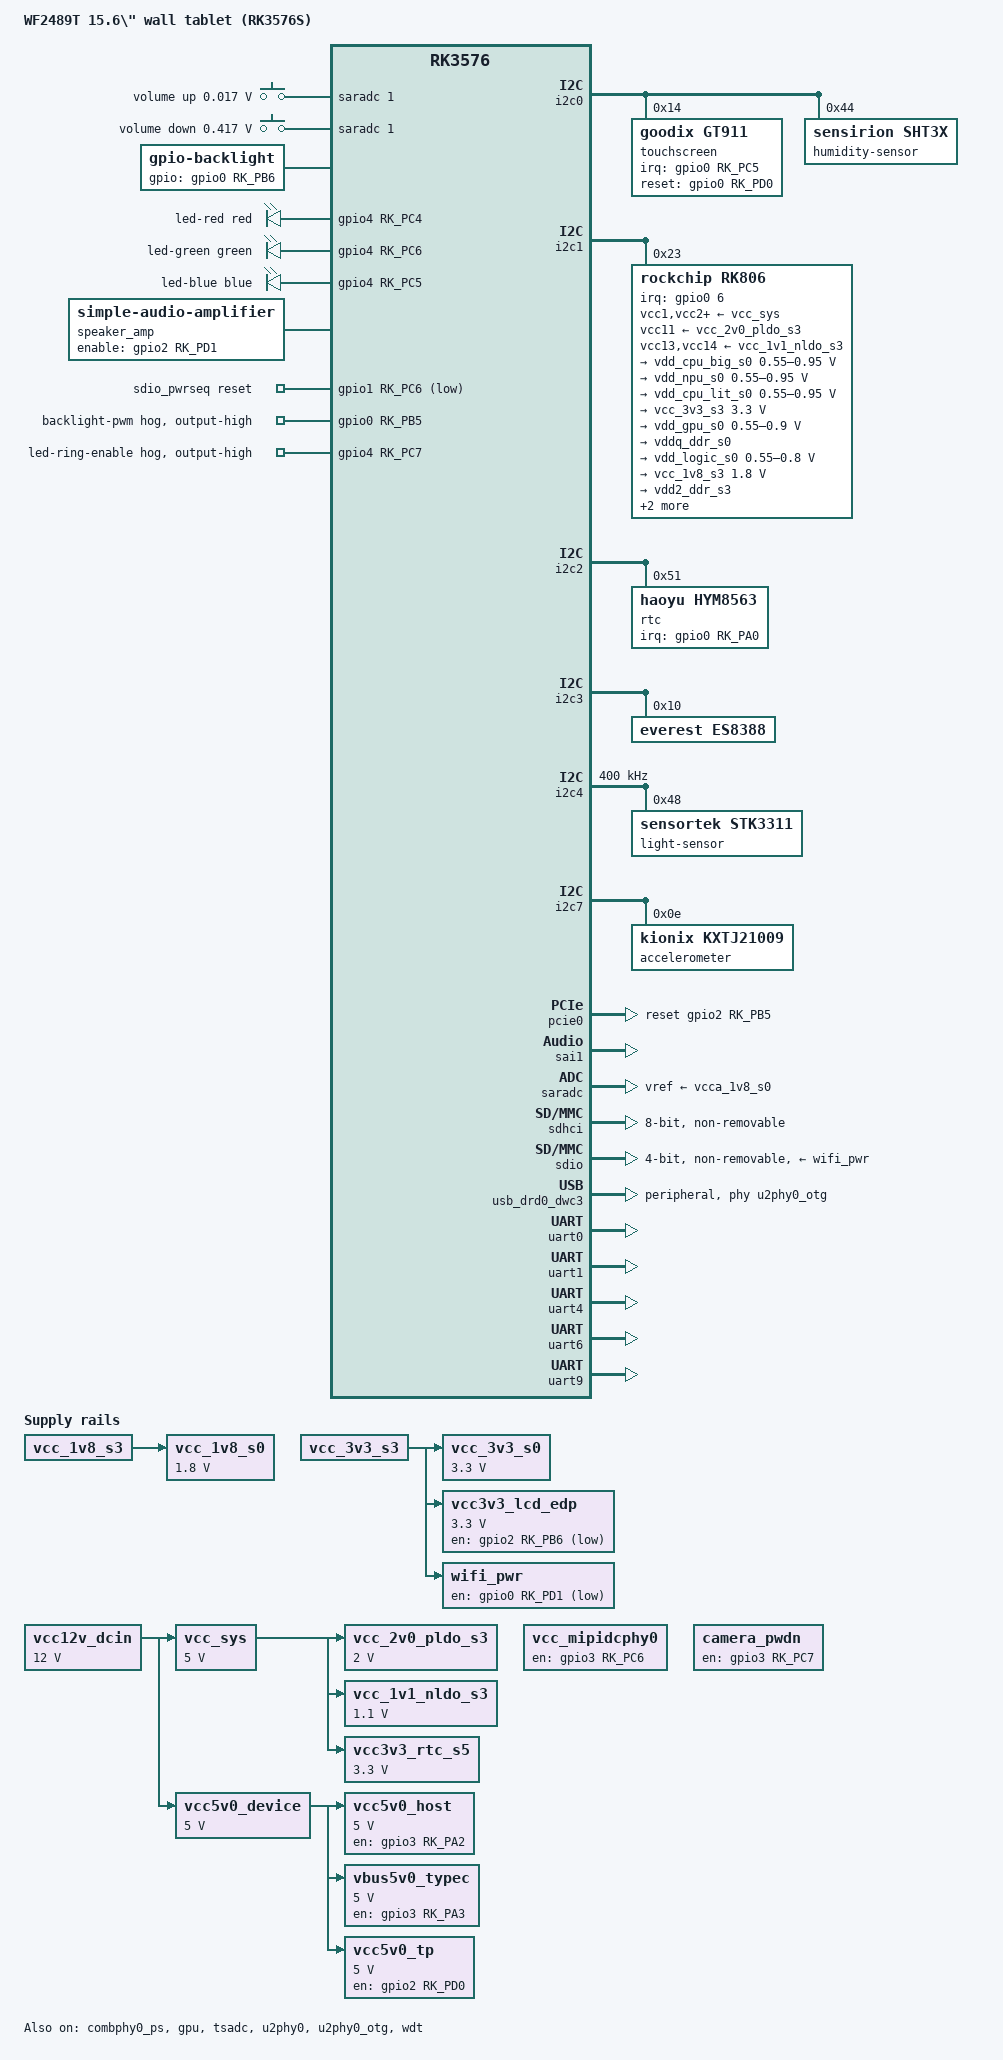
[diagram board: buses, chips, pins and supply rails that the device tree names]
// SPDX-License-Identifier: (GPL-2.0+ OR MIT)
/*
 * WF2489T 15.6" wall tablet (RK3576S, vendor board "R141 V10"): board hardware.
 * The display path (VOP2 -> eDP -> panel) is in rk3576s-wf2489t.dts, so that
 * U-Boot, whose copy of rk3576.dtsi has no eDP node yet, can use this file alone.
 *
 * The vendor board is derived from Rockchip's RK3576 EVB1: the RK806 PMIC
 * setup is taken from rk3576-evb1-v10.dts, with two rails set as on the stock
 * firmware. Pins and devices follow the stock device tree. The RK3576S has
 * the same CPU limits as the RK3576; only blocks it lacks (GMAC, PCIe1,
 * SATA, CAN) stay disabled.
 *
 * Not yet: PWM (no RK3576 PWM driver in mainline yet), so the backlight is
 * on/off via gpio-backlight and the LED ring is on/off per colour.
 */

#include <dt-bindings/gpio/gpio.h>
#include <dt-bindings/input/input.h>
#include <dt-bindings/interrupt-controller/irq.h>
#include <dt-bindings/leds/common.h>
#include <dt-bindings/pinctrl/rockchip.h>
#include <dt-bindings/soc/rockchip,vop2.h>
#include "rk3576.dtsi"

/ {
	model = "WF2489T 15.6\" wall tablet (RK3576S)";
	compatible = "oem,wf2489t", "rockchip,rk3576";

	/* serial numbering as on the stock firmware: the Zigbee radio is ttyS6 */
	aliases {
		ethernet0 = &rtl8168;
		mmc0 = &sdhci;
		mmc1 = &sdio;
		serial0 = &uart0;
		serial1 = &uart1;
		serial4 = &uart4;
		serial6 = &uart6;
		serial9 = &uart9;
	};

	chosen: chosen {
		stdout-path = "serial0:1500000n8";
	};

	adc-keys {
		compatible = "adc-keys";
		io-channels = <&saradc 1>;
		io-channel-names = "buttons";
		keyup-threshold-microvolt = <1800000>;
		poll-interval = <100>;

		button-vol-up {
			label = "volume up";
			linux,code = <KEY_VOLUMEUP>;
			press-threshold-microvolt = <17000>;
		};

		button-vol-down {
			label = "volume down";
			linux,code = <KEY_VOLUMEDOWN>;
			press-threshold-microvolt = <417000>;
		};
	};

	/* on/off only until the RK3576 PWM is supported; the PWM pin is held high below */
	backlight: backlight {
		compatible = "gpio-backlight";
		gpios = <&gpio0 RK_PB6 GPIO_ACTIVE_HIGH>;
		default-on;
		pinctrl-names = "default";
		pinctrl-0 = <&bl_en>;
	};

	/* LED ring, on/off per colour until the RK3576 PWM is supported */
	leds {
		compatible = "gpio-leds";
		pinctrl-names = "default";
		pinctrl-0 = <&led_ring_pins>;

		led-red {
			color = <LED_COLOR_ID_RED>;
			function = LED_FUNCTION_STATUS;
			gpios = <&gpio4 RK_PC4 GPIO_ACTIVE_HIGH>;
			default-state = "off";
		};

		led-green {
			color = <LED_COLOR_ID_GREEN>;
			function = LED_FUNCTION_STATUS;
			gpios = <&gpio4 RK_PC6 GPIO_ACTIVE_HIGH>;
			default-state = "off";
		};

		led-blue {
			color = <LED_COLOR_ID_BLUE>;
			function = LED_FUNCTION_STATUS;
			gpios = <&gpio4 RK_PC5 GPIO_ACTIVE_HIGH>;
			default-state = "off";
		};
	};

	/* speaker amplifier on LOUT2/ROUT2, switched by GPIO2_D1 (stock: spk-con-gpio) */
	speaker_amp: audio-amplifier {
		compatible = "simple-audio-amplifier";
		enable-gpios = <&gpio2 RK_PD1 GPIO_ACTIVE_HIGH>;
		pinctrl-names = "default";
		pinctrl-0 = <&spk_con>;
		sound-name-prefix = "Speaker Amp";
	};

	/* ES8388 on SAI1, routing as in the stock sound card */
	sound {
		compatible = "simple-audio-card";
		simple-audio-card,name = "ES8388";
		simple-audio-card,format = "i2s";
		simple-audio-card,mclk-fs = <256>;
		simple-audio-card,aux-devs = <&speaker_amp>;
		simple-audio-card,widgets =
			"Headphone", "Headphones",
			"Speaker", "Speaker",
			"Microphone", "Main Mic",
			"Microphone", "Headset Mic";
		simple-audio-card,routing =
			"Headphones", "LOUT1",
			"Headphones", "ROUT1",
			"Speaker Amp INL", "LOUT2",
			"Speaker Amp INR", "ROUT2",
			"Speaker", "Speaker Amp OUTL",
			"Speaker", "Speaker Amp OUTR",
			"LINPUT1", "Main Mic",
			"LINPUT2", "Main Mic",
			"RINPUT1", "Headset Mic",
			"RINPUT2", "Headset Mic";

		simple-audio-card,cpu {
			sound-dai = <&sai1>;
		};

		simple-audio-card,codec {
			sound-dai = <&es8388>;
		};
	};

	sdio_pwrseq: sdio-pwrseq {
		compatible = "mmc-pwrseq-simple";
		pinctrl-names = "default";
		pinctrl-0 = <&wifi_poweren_gpio>;
		post-power-on-delay-ms = <200>;
		reset-gpios = <&gpio1 RK_PC6 GPIO_ACTIVE_LOW>;
	};

	vcc12v_dcin: regulator-vcc12v-dcin {
		compatible = "regulator-fixed";
		regulator-name = "vcc12v_dcin";
		regulator-always-on;
		regulator-boot-on;
		regulator-min-microvolt = <12000000>;
		regulator-max-microvolt = <12000000>;
	};

	vcc_sys: regulator-vcc5v0-sys {
		compatible = "regulator-fixed";
		regulator-name = "vcc_sys";
		regulator-always-on;
		regulator-boot-on;
		regulator-min-microvolt = <5000000>;
		regulator-max-microvolt = <5000000>;
		vin-supply = <&vcc12v_dcin>;
	};

	vcc5v0_device: regulator-vcc5v0-device {
		compatible = "regulator-fixed";
		regulator-name = "vcc5v0_device";
		regulator-always-on;
		regulator-boot-on;
		regulator-min-microvolt = <5000000>;
		regulator-max-microvolt = <5000000>;
		vin-supply = <&vcc12v_dcin>;
	};

	vcc_2v0_pldo_s3: regulator-vcc-2v0-pldo-s3 {
		compatible = "regulator-fixed";
		regulator-name = "vcc_2v0_pldo_s3";
		regulator-always-on;
		regulator-boot-on;
		regulator-min-microvolt = <2000000>;
		regulator-max-microvolt = <2000000>;
		vin-supply = <&vcc_sys>;
	};

	vcc_1v1_nldo_s3: regulator-vcc-1v1-nldo-s3 {
		compatible = "regulator-fixed";
		regulator-name = "vcc_1v1_nldo_s3";
		regulator-always-on;
		regulator-boot-on;
		regulator-min-microvolt = <1100000>;
		regulator-max-microvolt = <1100000>;
		vin-supply = <&vcc_sys>;
	};

	vcc3v3_rtc_s5: regulator-vcc3v3-rtc-s5 {
		compatible = "regulator-fixed";
		regulator-name = "vcc3v3_rtc_s5";
		regulator-always-on;
		regulator-boot-on;
		regulator-min-microvolt = <3300000>;
		regulator-max-microvolt = <3300000>;
		vin-supply = <&vcc_sys>;
	};

	vcc_1v8_s0: regulator-vcc-1v8-s0 {
		compatible = "regulator-fixed";
		regulator-name = "vcc_1v8_s0";
		regulator-always-on;
		regulator-boot-on;
		regulator-min-microvolt = <1800000>;
		regulator-max-microvolt = <1800000>;
		vin-supply = <&vcc_1v8_s3>;
	};

	vcc_3v3_s0: regulator-vcc-3v3-s0 {
		compatible = "regulator-fixed";
		regulator-name = "vcc_3v3_s0";
		regulator-always-on;
		regulator-boot-on;
		regulator-min-microvolt = <3300000>;
		regulator-max-microvolt = <3300000>;
		vin-supply = <&vcc_3v3_s3>;
	};

	vcc3v3_lcd_edp: regulator-vcc3v3-lcd-edp {
		compatible = "regulator-fixed";
		regulator-name = "vcc3v3_lcd_edp";
		gpio = <&gpio2 RK_PB6 GPIO_ACTIVE_LOW>;
		regulator-boot-on;
		regulator-min-microvolt = <3300000>;
		regulator-max-microvolt = <3300000>;
		pinctrl-names = "default";
		pinctrl-0 = <&lcd_en_gpio>;
		vin-supply = <&vcc_3v3_s3>;
	};

	vcc5v0_host: regulator-vcc5v0-host {
		compatible = "regulator-fixed";
		regulator-name = "vcc5v0_host";
		regulator-always-on;
		regulator-boot-on;
		regulator-min-microvolt = <5000000>;
		regulator-max-microvolt = <5000000>;
		enable-active-high;
		gpio = <&gpio3 RK_PA2 GPIO_ACTIVE_HIGH>;
		vin-supply = <&vcc5v0_device>;
		pinctrl-names = "default";
		pinctrl-0 = <&usb_host_pwren>;
	};

	vbus5v0_typec: regulator-vbus5v0-typec {
		compatible = "regulator-fixed";
		regulator-name = "vbus5v0_typec";
		regulator-min-microvolt = <5000000>;
		regulator-max-microvolt = <5000000>;
		enable-active-high;
		gpio = <&gpio3 RK_PA3 GPIO_ACTIVE_HIGH>;
		vin-supply = <&vcc5v0_device>;
		pinctrl-names = "default";
		pinctrl-0 = <&usb_otg0_pwren>;
	};

	vcc5v0_tp: regulator-vcc5v0-tp {
		compatible = "regulator-fixed";
		regulator-name = "vcc5v0_tp";
		regulator-always-on;
		regulator-boot-on;
		regulator-min-microvolt = <5000000>;
		regulator-max-microvolt = <5000000>;
		enable-active-high;
		gpio = <&gpio2 RK_PD0 GPIO_ACTIVE_HIGH>;
		vin-supply = <&vcc5v0_device>;
		pinctrl-names = "default";
		pinctrl-0 = <&vcc5v0_tp_en>;
	};

	wifi_pwr: regulator-wifi-pwr {
		compatible = "regulator-fixed";
		regulator-name = "wifi_pwr";
		regulator-always-on;
		regulator-boot-on;
		gpio = <&gpio0 RK_PD1 GPIO_ACTIVE_LOW>;
		vin-supply = <&vcc_3v3_s3>;
		pinctrl-names = "default";
		pinctrl-0 = <&wifi_pwren>;
	};

	/*
	 * Camera module rail, also the supply of the ambient light sensor on
	 * i2c4 (nothing answers on that bus without it).
	 */
	vcc_mipidcphy0: regulator-vcc-mipidcphy0 {
		compatible = "regulator-fixed";
		regulator-name = "vcc_mipidcphy0";
		regulator-always-on;
		regulator-boot-on;
		enable-active-high;
		gpio = <&gpio3 RK_PC6 GPIO_ACTIVE_HIGH>;
		pinctrl-names = "default";
		pinctrl-0 = <&mipidcphy0_pwr>;
	};

	/* held as on the stock firmware, so the camera stays powered down */
	camera_pwdn: regulator-camera-pwdn {
		compatible = "regulator-fixed";
		regulator-name = "camera_pwdn";
		regulator-always-on;
		regulator-boot-on;
		enable-active-high;
		gpio = <&gpio3 RK_PC7 GPIO_ACTIVE_HIGH>;
		pinctrl-names = "default";
		pinctrl-0 = <&camera_pwdns>;
	};
};

/*
 * PCIe PHY for the Ethernet controller. Its analog rails come from the RK806;
 * without this dependency PCIe starts before the PMIC driver has set them up
 * (mainline U-Boot leaves the PMIC untouched) and the link only trains later.
 */
&combphy0_ps {
	phy-supply = <&vdda_0v85_s0>;
	status = "okay";
};

&cpu_l0 {
	cpu-supply = <&vdd_cpu_lit_s0>;
};

&cpu_b0 {
	cpu-supply = <&vdd_cpu_big_s0>;
};

/*
 * GPIOs of the vendor io_control driver, I/O 1-4 on the tablet's connector:
 * I/O 1 and 2 are plain lines (I/O 1 was a door-contact input on stock),
 * I/O 3 and 4 switch relays (tested: both click).
 */
&gpio0 {
	gpio-line-names =
		/* A0-A7 */ "", "", "", "", "", "", "", "",
		/* B0-B7 */ "", "", "", "", "io-2", "", "", "",
		/* C0-C7 */ "", "", "", "", "", "", "", "",
		/* D0-D7 */ "", "", "", "io-1", "", "", "", "";

	/* backlight PWM pin, held at 100 % until the PWM driver exists */
	backlight-pwm-hog {
		gpio-hog;
		gpios = <RK_PB5 GPIO_ACTIVE_HIGH>;
		output-high;
		line-name = "backlight-pwm";
	};
};

&gpio3 {
	gpio-line-names =
		/* A0-A7 */ "", "", "", "", "", "", "", "",
		/* B0-B7 */ "relay-1", "relay-2", "", "", "", "", "", "",
		/* C0-C7 */ "", "", "", "", "", "", "", "",
		/* D0-D7 */ "", "", "", "", "", "", "", "";
};

&gpio4 {
	/* "led_con" line of the stock LED ring driver, driven high there too */
	led-ring-enable-hog {
		gpio-hog;
		gpios = <RK_PC7 GPIO_ACTIVE_HIGH>;
		output-high;
		line-name = "led-ring-enable";
	};
};

&gpu {
	mali-supply = <&vdd_gpu_s0>;
	status = "okay";
};

/* the stock firmware stops the GPU at 900 MHz */
&gpu_opp_table {
	/delete-node/ opp-950000000;
};

/* touch and humidity sensor */
&i2c0 {
	pinctrl-names = "default";
	pinctrl-0 = <&i2c0m1_xfer>;
	status = "okay";

	touchscreen@14 {
		compatible = "goodix,gt911";
		reg = <0x14>;
		interrupt-parent = <&gpio0>;
		interrupts = <RK_PC5 IRQ_TYPE_EDGE_FALLING>;
		irq-gpios = <&gpio0 RK_PC5 GPIO_ACTIVE_HIGH>;
		reset-gpios = <&gpio0 RK_PD0 GPIO_ACTIVE_HIGH>;
		pinctrl-names = "default";
		pinctrl-0 = <&touch_gpio>;
	};

	humidity-sensor@44 {
		compatible = "sensirion,sht3x";
		reg = <0x44>;
	};
};

&i2c1 {
	status = "okay";

	rk806: pmic@23 {
		compatible = "rockchip,rk806";
		reg = <0x23>;
		interrupt-parent = <&gpio0>;
		interrupts = <6 IRQ_TYPE_LEVEL_LOW>;
		gpio-controller;
		#gpio-cells = <2>;
		pinctrl-names = "default";
		pinctrl-0 = <&pmic_pins>, <&rk806_dvs1_null>,
			    <&rk806_dvs2_null>, <&rk806_dvs3_null>;
		system-power-controller;

		vcc1-supply = <&vcc_sys>;
		vcc2-supply = <&vcc_sys>;
		vcc3-supply = <&vcc_sys>;
		vcc4-supply = <&vcc_sys>;
		vcc5-supply = <&vcc_sys>;
		vcc6-supply = <&vcc_sys>;
		vcc7-supply = <&vcc_sys>;
		vcc8-supply = <&vcc_sys>;
		vcc9-supply = <&vcc_sys>;
		vcc10-supply = <&vcc_sys>;
		vcc11-supply = <&vcc_2v0_pldo_s3>;
		vcc12-supply = <&vcc_sys>;
		vcc13-supply = <&vcc_1v1_nldo_s3>;
		vcc14-supply = <&vcc_1v1_nldo_s3>;
		vcca-supply = <&vcc_sys>;

		rk806_dvs1_null: dvs1-null-pins {
			pins = "gpio_pwrctrl1";
			function = "pin_fun0";
		};

		rk806_dvs2_null: dvs2-null-pins {
			pins = "gpio_pwrctrl2";
			function = "pin_fun0";
		};

		rk806_dvs3_null: dvs3-null-pins {
			pins = "gpio_pwrctrl3";
			function = "pin_fun0";
		};

		rk806_dvs1_slp: dvs1-slp-pins {
			pins = "gpio_pwrctrl1";
			function = "pin_fun1";
		};

		rk806_dvs1_pwrdn: dvs1-pwrdn-pins {
			pins = "gpio_pwrctrl1";
			function = "pin_fun2";
		};

		rk806_dvs1_rst: dvs1-rst-pins {
			pins = "gpio_pwrctrl1";
			function = "pin_fun3";
		};

		rk806_dvs2_slp: dvs2-slp-pins {
			pins = "gpio_pwrctrl2";
			function = "pin_fun1";
		};

		rk806_dvs2_pwrdn: dvs2-pwrdn-pins {
			pins = "gpio_pwrctrl2";
			function = "pin_fun2";
		};

		rk806_dvs2_rst: dvs2-rst-pins {
			pins = "gpio_pwrctrl2";
			function = "pin_fun3";
		};

		rk806_dvs2_dvs: dvs2-dvs-pins {
			pins = "gpio_pwrctrl2";
			function = "pin_fun4";
		};

		rk806_dvs2_gpio: dvs2-gpio-pins {
			pins = "gpio_pwrctrl2";
			function = "pin_fun5";
		};

		rk806_dvs3_slp: dvs3-slp-pins {
			pins = "gpio_pwrctrl3";
			function = "pin_fun1";
		};

		rk806_dvs3_pwrdn: dvs3-pwrdn-pins {
			pins = "gpio_pwrctrl3";
			function = "pin_fun2";
		};

		rk806_dvs3_rst: dvs3-rst-pins {
			pins = "gpio_pwrctrl3";
			function = "pin_fun3";
		};

		rk806_dvs3_dvs: dvs3-dvs-pins {
			pins = "gpio_pwrctrl3";
			function = "pin_fun4";
		};

		rk806_dvs3_gpio: dvs3-gpio-pins {
			pins = "gpio_pwrctrl3";
			function = "pin_fun5";
		};

		regulators {
			vdd_cpu_big_s0: dcdc-reg1 {
				regulator-always-on;
				regulator-boot-on;
				regulator-min-microvolt = <550000>;
				regulator-max-microvolt = <950000>;
				regulator-ramp-delay = <12500>;
				regulator-name = "vdd_cpu_big_s0";
				regulator-enable-ramp-delay = <400>;

				regulator-state-mem {
					regulator-off-in-suspend;
				};
			};

			vdd_npu_s0: dcdc-reg2 {
				regulator-boot-on;
				regulator-min-microvolt = <550000>;
				regulator-max-microvolt = <950000>;
				regulator-ramp-delay = <12500>;
				regulator-name = "vdd_npu_s0";
				regulator-enable-ramp-delay = <400>;

				regulator-state-mem {
					regulator-off-in-suspend;
				};
			};

			vdd_cpu_lit_s0: dcdc-reg3 {
				regulator-always-on;
				regulator-boot-on;
				regulator-min-microvolt = <550000>;
				regulator-max-microvolt = <950000>;
				regulator-ramp-delay = <12500>;
				regulator-name = "vdd_cpu_lit_s0";

				regulator-state-mem {
					regulator-off-in-suspend;
					regulator-suspend-microvolt = <750000>;
				};
			};

			vcc_3v3_s3: dcdc-reg4 {
				regulator-always-on;
				regulator-boot-on;
				regulator-min-microvolt = <3300000>;
				regulator-max-microvolt = <3300000>;
				regulator-name = "vcc_3v3_s3";

				regulator-state-mem {
					regulator-on-in-suspend;
					regulator-suspend-microvolt = <3300000>;
				};
			};

			vdd_gpu_s0: dcdc-reg5 {
				regulator-boot-on;
				regulator-min-microvolt = <550000>;
				regulator-max-microvolt = <900000>;
				regulator-ramp-delay = <12500>;
				regulator-name = "vdd_gpu_s0";
				regulator-enable-ramp-delay = <400>;

				regulator-state-mem {
					regulator-off-in-suspend;
					regulator-suspend-microvolt = <850000>;
				};
			};

			vddq_ddr_s0: dcdc-reg6 {
				regulator-always-on;
				regulator-boot-on;
				regulator-name = "vddq_ddr_s0";

				regulator-state-mem {
					regulator-off-in-suspend;
				};
			};

			vdd_logic_s0: dcdc-reg7 {
				regulator-always-on;
				regulator-boot-on;
				regulator-min-microvolt = <550000>;
				regulator-max-microvolt = <800000>;
				regulator-name = "vdd_logic_s0";

				regulator-state-mem {
					regulator-off-in-suspend;
				};
			};

			vcc_1v8_s3: dcdc-reg8 {
				regulator-always-on;
				regulator-boot-on;
				regulator-min-microvolt = <1800000>;
				regulator-max-microvolt = <1800000>;
				regulator-name = "vcc_1v8_s3";

				regulator-state-mem {
					regulator-on-in-suspend;
					regulator-suspend-microvolt = <1800000>;
				};
			};

			vdd2_ddr_s3: dcdc-reg9 {
				regulator-always-on;
				regulator-boot-on;
				regulator-name = "vdd2_ddr_s3";

				regulator-state-mem {
					regulator-on-in-suspend;
				};
			};

			vdd_ddr_s0: dcdc-reg10 {
				regulator-always-on;
				regulator-boot-on;
				regulator-min-microvolt = <550000>;
				regulator-max-microvolt = <1200000>;
				regulator-name = "vdd_ddr_s0";

				regulator-state-mem {
					regulator-off-in-suspend;
				};
			};

			vcca_1v8_s0: pldo-reg1 {
				regulator-always-on;
				regulator-boot-on;
				regulator-min-microvolt = <1800000>;
				regulator-max-microvolt = <1800000>;
				regulator-name = "vcca_1v8_s0";

				regulator-state-mem {
					regulator-off-in-suspend;
				};
			};

			vcca1v8_pldo2_s0: pldo-reg2 {
				regulator-always-on;
				regulator-boot-on;
				regulator-min-microvolt = <1800000>;
				regulator-max-microvolt = <1800000>;
				regulator-name = "vcca1v8_pldo2_s0";

				regulator-state-mem {
					regulator-off-in-suspend;
				};
			};

			vdda_1v2_s0: pldo-reg3 {
				regulator-always-on;
				regulator-boot-on;
				regulator-min-microvolt = <1200000>;
				regulator-max-microvolt = <1200000>;
				regulator-name = "vdda_1v2_s0";

				regulator-state-mem {
					regulator-off-in-suspend;
				};
			};

			vcca_3v3_s0: pldo-reg4 {
				regulator-always-on;
				regulator-boot-on;
				regulator-min-microvolt = <3300000>;
				regulator-max-microvolt = <3300000>;
				regulator-name = "vcca_3v3_s0";

				regulator-state-mem {
					regulator-off-in-suspend;
				};
			};

			vccio_sd_s0: pldo-reg5 {
				regulator-always-on;
				regulator-boot-on;
				regulator-min-microvolt = <1800000>;
				regulator-max-microvolt = <3300000>;
				regulator-name = "vccio_sd_s0";

				regulator-state-mem {
					regulator-off-in-suspend;
				};
			};

			vcca1v8_pldo6_s3: pldo-reg6 {
				regulator-always-on;
				regulator-boot-on;
				regulator-min-microvolt = <1800000>;
				regulator-max-microvolt = <1800000>;
				regulator-name = "vcca1v8_pldo6_s3";

				regulator-state-mem {
					regulator-on-in-suspend;
					regulator-suspend-microvolt = <1800000>;
				};
			};

			vdd_0v75_s3: nldo-reg1 {
				regulator-always-on;
				regulator-boot-on;
				regulator-min-microvolt = <750000>;
				regulator-max-microvolt = <750000>;
				regulator-name = "vdd_0v75_s3";

				regulator-state-mem {
					regulator-on-in-suspend;
					regulator-suspend-microvolt = <750000>;
				};
			};

			vdda_ddr_pll_s0: nldo-reg2 {
				regulator-always-on;
				regulator-boot-on;
				regulator-min-microvolt = <850000>;
				regulator-max-microvolt = <850000>;
				regulator-name = "vdda_ddr_pll_s0";

				regulator-state-mem {
					regulator-off-in-suspend;
				};
			};

			vdda0v75_hdmi_s0: nldo-reg3 {
				regulator-always-on;
				regulator-boot-on;
				regulator-min-microvolt = <837500>;
				regulator-max-microvolt = <837500>;
				regulator-name = "vdda0v75_hdmi_s0";

				regulator-state-mem {
					regulator-off-in-suspend;
				};
			};

			vdda_0v85_s0: nldo-reg4 {
				regulator-always-on;
				regulator-boot-on;
				regulator-min-microvolt = <850000>;
				regulator-max-microvolt = <850000>;
				regulator-name = "vdda_0v85_s0";

				regulator-state-mem {
					regulator-off-in-suspend;
				};
			};

			vdda_0v75_s0: nldo-reg5 {
				regulator-always-on;
				regulator-boot-on;
				regulator-min-microvolt = <750000>;
				regulator-max-microvolt = <750000>;
				regulator-name = "vdda_0v75_s0";

				regulator-state-mem {
					regulator-off-in-suspend;
				};
			};
		};
	};
};


&i2c2 {
	pinctrl-names = "default";
	pinctrl-0 = <&i2c2m0_xfer>;
	status = "okay";

	rtc@51 {
		compatible = "haoyu,hym8563";
		reg = <0x51>;
		#clock-cells = <0>;
		clock-output-names = "hym8563";
		interrupt-parent = <&gpio0>;
		interrupts = <RK_PA0 IRQ_TYPE_LEVEL_LOW>;
		pinctrl-names = "default";
		pinctrl-0 = <&hym8563_int>;
		wakeup-source;
	};
};

/* audio codec (ES8388); the sound card itself is not described yet */
&i2c3 {
	status = "okay";

	es8388: audio-codec@10 {
		compatible = "everest,es8388", "everest,es8328";
		reg = <0x10>;
		#sound-dai-cells = <0>;
		clocks = <&cru CLK_SAI1_MCLKOUT_TO_IO>;
		clock-names = "mclk";
		assigned-clocks = <&cru CLK_SAI1_MCLKOUT_TO_IO>;
		assigned-clock-rates = <12288000>;
		pinctrl-names = "default";
		pinctrl-0 = <&sai1m0_mclk>;
	};
};

/* ambient light sensor (the camera on this bus is not described) */
&i2c4 {
	pinctrl-names = "default";
	pinctrl-0 = <&i2c4m3_xfer>;
	clock-frequency = <400000>;
	status = "okay";

	light-sensor@48 {
		compatible = "sensortek,stk3311";
		reg = <0x48>;
	};
};

/* accelerometer */
&i2c7 {
	pinctrl-names = "default";
	pinctrl-0 = <&i2c7m1_xfer>;
	status = "okay";

	accelerometer@e {
		compatible = "kionix,kxtj21009";
		reg = <0x0e>;
	};
};

/* Ethernet: RTL8168 on PCIe */
&pcie0 {
	reset-gpios = <&gpio2 RK_PB5 GPIO_ACTIVE_HIGH>;
	pinctrl-names = "default";
	pinctrl-0 = <&ufs_refclk>;
	status = "okay";

	pcie@0,0 {
		reg = <0x000000 0 0 0 0>;
		#address-cells = <3>;
		#size-cells = <2>;
		ranges;
		device_type = "pci";
		bus-range = <0x1 0xf>;

		/* RTL8168H; U-Boot sets its MAC address from vendor storage */
		rtl8168: ethernet@0,0 {
			reg = <0x010000 0 0 0 0>;
		};
	};
};

&sai1 {
	pinctrl-0 = <&sai1m0_lrck &sai1m0_sclk &sai1m0_sdi0 &sai1m0_sdo0>;
	status = "okay";
};

&saradc {
	vref-supply = <&vcca_1v8_s0>;
	status = "okay";
};

/*
 * eMMC. The command queue engine (CQE) times out with this eMMC
 * ("cqhci: timeout for tag 0", I/O stalls), so it is switched off.
 */
&sdhci {
	/delete-property/ supports-cqe;
	bus-width = <8>;
	full-pwr-cycle-in-suspend;
	max-frequency = <200000000>;
	mmc-hs400-1_8v;
	mmc-hs400-enhanced-strobe;
	no-sd;
	no-sdio;
	non-removable;
	status = "okay";
};

/* Wi-Fi: AIC8800D80 on SDIO (out-of-tree driver) */
&sdio {
	bus-width = <4>;
	cap-sd-highspeed;
	cap-sdio-irq;
	disable-wp;
	keep-power-in-suspend;
	max-frequency = <200000000>;
	mmc-pwrseq = <&sdio_pwrseq>;
	no-sd;
	no-mmc;
	non-removable;
	sd-uhs-sdr104;
	vmmc-supply = <&wifi_pwr>;
	pinctrl-names = "default";
	pinctrl-0 = <&sdmmc1m0_bus4 &sdmmc1m0_clk &sdmmc1m0_cmd>;
	status = "okay";
};

&tsadc {
	status = "okay";
};

/* USB 2.0 OTG, the only USB port */
&u2phy0 {
	status = "okay";
};

/*
 * Device mode only: the port must not drive VBUS. vbus5v0_typec switches the
 * board's 5 V onto the connector (host mode); left on, it ties the PC's 5 V to
 * the board's 5 V rail and the PC back-feeds the tablet.
 */
&u2phy0_otg {
	status = "okay";
};

&usb_drd0_dwc3 {
	dr_mode = "peripheral";
	maximum-speed = "high-speed";
	phys = <&u2phy0_otg>;
	phy-names = "usb2-phy";
	snps,dis_u2_susphy_quirk;
	snps,usb2-lpm-disable;
	status = "okay";
};

/* debug console */
&uart0 {
	pinctrl-names = "default";
	pinctrl-0 = <&uart0m0_xfer>;
	status = "okay";
};

/* RS-485 (Modbus in the vendor demo app), /dev/ttyS1 */
&uart1 {
	pinctrl-names = "default";
	pinctrl-0 = <&uart1m1_xfer>;
	status = "okay";
};

/* Bluetooth (AIC8800D80) */
&uart4 {
	pinctrl-names = "default";
	pinctrl-0 = <&uart4m1_xfer &uart4m1_ctsn &uart4m1_rtsn>;
	status = "okay";
};

/* Zigbee: EFR32 (EmberZNet NCP), TX/RX only */
&uart6 {
	pinctrl-names = "default";
	pinctrl-0 = <&uart6m1_xfer>;
	status = "okay";
};

/* card reader port, /dev/ttyS9 */
&uart9 {
	pinctrl-names = "default";
	pinctrl-0 = <&uart9m0_xfer>;
	status = "okay";
};

&wdt {
	status = "okay";
};

&pinctrl {
	display {
		bl_en: bl-en {
			rockchip,pins = <0 RK_PB6 RK_FUNC_GPIO &pcfg_pull_none>;
		};

		lcd_en_gpio: lcd-en-gpio {
			rockchip,pins = <2 RK_PB6 RK_FUNC_GPIO &pcfg_pull_none>;
		};
	};

	camera {
		mipidcphy0_pwr: mipidcphy0-pwr {
			rockchip,pins = <3 RK_PC6 RK_FUNC_GPIO &pcfg_pull_none>;
		};

		camera_pwdns: camera-pwdns {
			rockchip,pins = <3 RK_PC7 RK_FUNC_GPIO &pcfg_pull_up>;
		};
	};

	hym8563 {
		hym8563_int: hym8563-int {
			rockchip,pins = <0 RK_PA0 RK_FUNC_GPIO &pcfg_pull_up>;
		};
	};

	audio {
		spk_con: spk-con {
			rockchip,pins = <2 RK_PD1 RK_FUNC_GPIO &pcfg_pull_none>;
		};
	};

	leds {
		led_ring_pins: led-ring-pins {
			rockchip,pins = <4 RK_PC4 RK_FUNC_GPIO &pcfg_pull_none>,
					<4 RK_PC5 RK_FUNC_GPIO &pcfg_pull_none>,
					<4 RK_PC6 RK_FUNC_GPIO &pcfg_pull_none>;
		};
	};

	touch {
		touch_gpio: touch-gpio {
			rockchip,pins = <0 RK_PD0 RK_FUNC_GPIO &pcfg_pull_up>,
					<0 RK_PC5 RK_FUNC_GPIO &pcfg_pull_up>;
		};

		vcc5v0_tp_en: vcc5v0-tp-en {
			rockchip,pins = <2 RK_PD0 RK_FUNC_GPIO &pcfg_pull_none>;
		};
	};

	usb {
		usb_host_pwren: usb-host-pwren {
			rockchip,pins = <3 RK_PA2 RK_FUNC_GPIO &pcfg_pull_none>;
		};

		usb_otg0_pwren: usb-otg0-pwren {
			rockchip,pins = <3 RK_PA3 RK_FUNC_GPIO &pcfg_pull_none>;
		};
	};

	wireless-wlan {
		wifi_poweren_gpio: wifi-poweren-gpio {
			rockchip,pins = <1 RK_PC6 RK_FUNC_GPIO &pcfg_pull_up>;
		};

		wifi_pwren: wifi-pwren {
			rockchip,pins = <0 RK_PD1 RK_FUNC_GPIO &pcfg_pull_none>;
		};
	};
};
